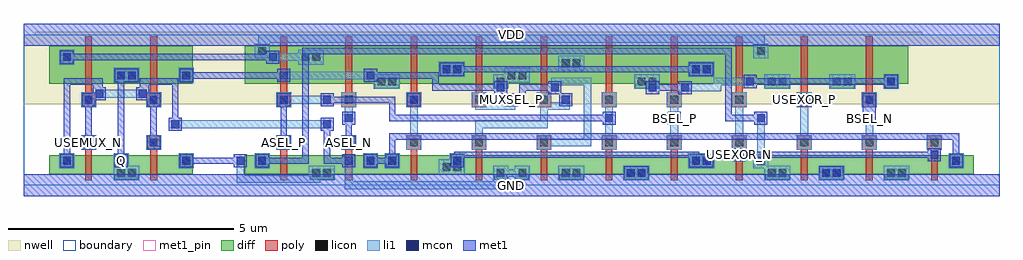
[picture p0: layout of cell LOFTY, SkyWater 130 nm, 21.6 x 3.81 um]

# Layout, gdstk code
import gdstk
lib = gdstk.Library(unit=1e-6, precision=1e-09)
def R(c, l, rs):  # rectangles x0, y0, x1, y1
    for r in rs: c.add(gdstk.rectangle(r[:2], r[2:], *l))
def A(c, l, x, y, w, h, nx, ny, dx, dy):  # array of equal rectangles
    R(c, l, [(x+i*dx, y+j*dy, x+i*dx+w, y+j*dy+h) for i in range(nx) for j in range(ny)])
def P(c, l, *ps):  # polygons
    for p in ps: c.add(gdstk.Polygon(p, *l))
nwell = (64, 20)
diff = (65, 20)
poly = (66, 20)
licon = (66, 44)
li1 = (67, 20)
mcon = (67, 44)
met1_pin = (68, 16)
met1 = (68, 20)
boundary = (235, 4)

lofty = lib.new_cell('LOFTY')
P(lofty, nwell, [(0,1.79),(0,3.33),(0.265,3.33),(0.265,3.4),(19.895,3.4),(19.895,3.33),(21.6,3.33),(21.6,1.79)])
R(lofty, diff, [(0.575,2.25,3.745,3.09)])
P(lofty, diff, [(2.015,0.125),(2.015,0.24),(0.575,0.24),(0.575,0.66),(0.815,0.66),(0.815,0.685),(1.105,0.685),(1.105,0.66),(2.015,0.66),(2.015,0.685),(2.305,0.685),(2.305,0.66),(3.455,0.66),(3.455,0.685),(3.745,0.685),(3.745,0.24),(2.545,0.24),(2.545,0.125)],
  [(6.335,0.125),(6.335,0.24),(4.895,0.24),(4.895,0.66),(5.135,0.66),(5.135,0.685),(5.425,0.685),(5.425,0.66),(7.535,0.66),(7.535,0.685),(7.825,0.685),(7.825,0.66),(8.015,0.66),(8.015,0.685),(8.305,0.685),(8.305,0.66),(9.455,0.66),(9.455,0.685),(9.745,0.685),(9.745,0.66),(14.735,0.66),(14.735,0.685),(15.265,0.685),(15.265,0.66),(16.175,0.66),(16.175,0.685),(16.465,0.685),(16.465,0.66),(20.495,0.66),(20.495,0.685),(20.785,0.685),(20.785,0.66),(21.025,0.66),(21.025,0.24),(19.585,0.24),(19.585,0.125),(19.055,0.125),(19.055,0.24),(18.145,0.24),(18.145,0.125),(17.615,0.125),(17.615,0.24),(16.945,0.24),(16.945,0.125),(16.415,0.125),(16.415,0.24),(13.825,0.24),(13.825,0.125),(13.295,0.125),(13.295,0.24),(12.385,0.24),(12.385,0.125),(11.855,0.125),(11.855,0.24),(11.185,0.24),(11.185,0.125),(10.895,0.125),(10.895,0.24),(10.705,0.24),(10.705,0.125),(10.415,0.125),(10.415,0.24),(6.865,0.24),(6.865,0.125)],
  [(7.775,2.15),(7.775,2.25),(4.895,2.25),(4.895,3.09),(5.135,3.09),(5.135,3.115),(5.425,3.115),(5.425,3.09),(16.175,3.09),(16.175,3.115),(16.465,3.115),(16.465,3.09),(19.585,3.09),(19.585,2.25),(19.345,2.25),(19.345,2.15),(19.055,2.15),(19.055,2.25),(18.385,2.25),(18.385,2.15),(17.855,2.15),(17.855,2.25),(16.945,2.25),(16.945,2.15),(16.415,2.15),(16.415,2.25),(14.065,2.25),(14.065,2.15),(13.535,2.15),(13.535,2.25),(10.705,2.25),(10.705,2.15),(10.415,2.15),(10.415,2.25),(8.305,2.25),(8.305,2.15)])
P(lofty, poly, [(1.365,0.11),(1.365,0.78),(1.275,0.78),(1.275,1.11),(1.605,1.11),(1.605,0.78),(1.515,0.78),(1.515,0.11)],
  [(2.805,0.11),(2.805,0.78),(2.715,0.78),(2.715,1.11),(3.045,1.11),(3.045,0.78),(2.955,0.78),(2.955,0.11)],
  [(5.685,0.11),(5.685,0.78),(5.595,0.78),(5.595,1.11),(5.925,1.11),(5.925,0.78),(5.835,0.78),(5.835,0.11)],
  [(7.125,0.11),(7.125,0.78),(7.035,0.78),(7.035,1.11),(7.365,1.11),(7.365,0.78),(7.275,0.78),(7.275,0.11)],
  [(8.565,0.11),(8.565,0.78),(8.475,0.78),(8.475,1.11),(8.805,1.11),(8.805,0.78),(8.715,0.78),(8.715,0.11)],
  [(10.005,0.11),(10.005,0.78),(9.915,0.78),(9.915,1.11),(10.245,1.11),(10.245,0.78),(10.155,0.78),(10.155,0.11)],
  [(11.445,0.11),(11.445,0.78),(11.355,0.78),(11.355,1.11),(11.685,1.11),(11.685,0.78),(11.595,0.78),(11.595,0.11)],
  [(12.885,0.11),(12.885,0.78),(12.795,0.78),(12.795,1.11),(13.125,1.11),(13.125,0.78),(13.035,0.78),(13.035,0.11)],
  [(14.325,0.11),(14.325,0.78),(14.235,0.78),(14.235,1.11),(14.565,1.11),(14.565,0.78),(14.475,0.78),(14.475,0.11)],
  [(15.765,0.11),(15.765,0.78),(15.675,0.78),(15.675,1.11),(16.005,1.11),(16.005,0.78),(15.915,0.78),(15.915,0.11)],
  [(17.205,0.11),(17.205,0.78),(17.115,0.78),(17.115,1.11),(17.445,1.11),(17.445,0.78),(17.355,0.78),(17.355,0.11)],
  [(18.645,0.11),(18.645,0.78),(18.555,0.78),(18.555,1.11),(18.885,1.11),(18.885,0.78),(18.795,0.78),(18.795,0.11)],
  [(20.085,0.11),(20.085,0.78),(19.995,0.78),(19.995,1.11),(20.325,1.11),(20.325,0.78),(20.235,0.78),(20.235,0.11)],
  [(1.275,1.725),(1.275,2.055),(1.365,2.055),(1.365,3.295),(1.515,3.295),(1.515,2.055),(1.605,2.055),(1.605,1.725)],
  [(2.715,1.725),(2.715,2.055),(2.805,2.055),(2.805,3.295),(2.955,3.295),(2.955,2.055),(3.045,2.055),(3.045,1.725)],
  [(5.595,1.725),(5.595,2.055),(5.685,2.055),(5.685,3.295),(5.835,3.295),(5.835,2.055),(5.925,2.055),(5.925,1.725)],
  [(7.035,1.725),(7.035,2.055),(7.125,2.055),(7.125,3.295),(7.275,3.295),(7.275,2.055),(7.365,2.055),(7.365,1.725)],
  [(8.475,1.725),(8.475,2.055),(8.565,2.055),(8.565,3.295),(8.715,3.295),(8.715,2.055),(8.805,2.055),(8.805,1.725)],
  [(9.915,1.725),(9.915,2.055),(10.005,2.055),(10.005,3.295),(10.155,3.295),(10.155,2.055),(10.245,2.055),(10.245,1.725)],
  [(11.355,1.725),(11.355,2.055),(11.445,2.055),(11.445,3.295),(11.595,3.295),(11.595,2.055),(11.685,2.055),(11.685,1.725)],
  [(12.795,1.725),(12.795,2.055),(12.885,2.055),(12.885,3.295),(13.035,3.295),(13.035,2.055),(13.125,2.055),(13.125,1.725)],
  [(14.235,1.725),(14.235,2.055),(14.325,2.055),(14.325,3.295),(14.475,3.295),(14.475,2.055),(14.565,2.055),(14.565,1.725)],
  [(15.675,1.725),(15.675,2.055),(15.765,2.055),(15.765,3.295),(15.915,3.295),(15.915,2.055),(16.005,2.055),(16.005,1.725)],
  [(17.115,1.725),(17.115,2.055),(17.205,2.055),(17.205,3.295),(17.355,3.295),(17.355,2.055),(17.445,2.055),(17.445,1.725)],
  [(18.555,1.725),(18.555,2.055),(18.645,2.055),(18.645,3.295),(18.795,3.295),(18.795,2.055),(18.885,2.055),(18.885,1.725)])
A(lofty, licon, 5.675, 0.86, 0.17, 0.17, 11, 1, 1.44, 0)
A(lofty, licon, 5.675, 1.805, 0.17, 0.17, 10, 1, 1.44, 0)
R(lofty, licon, [(2.075,0.185,2.245,0.355), (2.315,0.185,2.485,0.355), (6.395,0.185,6.565,0.355), (6.635,0.185,6.805,0.355), (10.475,0.185,10.645,0.355), (10.955,0.185,11.125,0.355), (11.915,0.185,12.085,0.355), (12.155,0.185,12.325,0.355), (13.355,0.185,13.525,0.355), (13.595,0.185,13.765,0.355), (16.475,0.185,16.645,0.355), (16.715,0.185,16.885,0.355), (17.675,0.185,17.845,0.355), (17.915,0.185,18.085,0.355), (19.115,0.185,19.285,0.355), (19.355,0.185,19.525,0.355), (9.275,0.32,9.445,0.49), (9.515,0.32,9.685,0.625), (0.875,0.455,1.045,0.625), (2.075,0.455,2.245,0.625), (3.515,0.455,3.685,0.625), (5.195,0.455,5.365,0.625), (7.595,0.455,7.765,0.625), (8.075,0.455,8.245,0.625), (14.795,0.455,14.965,0.625), (15.035,0.455,15.205,0.625), (16.235,0.455,16.405,0.625), (20.555,0.455,20.725,0.625), (1.355,0.86,1.525,1.03), (2.795,0.86,2.965,1.03), (1.355,1.805,1.525,1.975), (2.795,1.805,2.965,1.975), (7.835,2.21,8.005,2.38), (8.075,2.21,8.245,2.38), (10.475,2.21,10.645,2.38), (13.595,2.21,13.765,2.38), (13.835,2.21,14.005,2.38), (16.475,2.21,16.645,2.38), (16.715,2.21,16.885,2.38), (17.915,2.21,18.085,2.38), (18.155,2.21,18.325,2.38), (19.115,2.21,19.285,2.38), (2.075,2.345,2.245,2.515), (2.315,2.345,2.485,2.515), (3.515,2.345,3.685,2.515), (10.715,2.345,10.885,2.515), (10.955,2.345,11.125,2.515), (9.275,2.48,9.445,2.65), (9.515,2.48,9.685,2.65), (14.795,2.48,14.965,2.65), (15.035,2.48,15.205,2.65), (11.915,2.615,12.085,2.785), (12.155,2.615,12.325,2.785), (0.875,2.75,1.045,2.92), (6.155,2.75,6.325,2.92), (6.395,2.75,6.565,2.92), (5.195,2.885,5.365,3.055), (16.235,2.885,16.405,3.055)])
R(lofty, li1, [(11.835,0.105,12.405,0.435), (13.275,0.105,13.845,0.435), (17.595,0.105,18.165,0.435), (19.035,0.105,19.605,0.435), (0.795,0.375,1.125,0.705), (3.435,0.375,3.765,0.705), (5.115,0.375,5.445,0.705), (7.515,0.375,7.845,0.705), (7.995,0.375,8.325,0.705), (14.715,0.375,15.285,0.705), (20.475,0.375,20.805,0.705), (1.275,0.78,1.605,1.11), (2.715,0.78,3.045,1.11), (5.595,0.78,5.925,1.11), (7.035,0.78,7.365,1.11), (3.275,1.265,6.805,1.435), (18.555,1.725,18.885,2.055), (16.395,2.13,16.965,2.46), (17.835,2.13,18.405,2.46), (19.035,2.13,19.365,2.46), (1.995,2.265,2.565,2.595), (3.435,2.265,3.765,2.595), (9.195,2.4,9.765,2.73), (14.715,2.4,15.285,2.73), (11.835,2.535,12.405,2.865), (0.795,2.67,1.125,3)])
P(lofty, li1, [(4.715,0.05),(4.715,0.625),(4.885,0.625),(4.885,0.22),(6.315,0.22),(6.315,0.435),(6.885,0.435),(6.885,0.105),(6.565,0.105),(6.565,0.05)],
  [(7.115,-0.085),(7.115,0.625),(7.285,0.625),(7.285,0.085),(10.395,0.085),(10.395,0.435),(10.725,0.435),(10.725,0.355),(10.875,0.355),(10.875,0.435),(11.205,0.435),(11.205,0.105),(10.875,0.105),(10.875,0.185),(10.725,0.185),(10.725,0.105),(10.645,0.105),(10.645,-0.085)],
  [(1.995,0.105),(1.995,0.705),(2.325,0.705),(2.325,0.435),(2.565,0.435),(2.565,0.105)],
  [(9.195,0.24),(9.195,0.57),(9.435,0.57),(9.435,0.705),(9.765,0.705),(9.765,0.24)],
  [(20.075,0.59),(20.075,0.78),(19.995,0.78),(19.995,1.11),(20.325,1.11),(20.325,0.78),(20.245,0.78),(20.245,0.59)],
  [(16.395,0.105),(16.395,0.375),(16.155,0.375),(16.155,0.705),(16.235,0.705),(16.235,1.57),(16.405,1.57),(16.405,0.705),(16.485,0.705),(16.485,0.435),(16.965,0.435),(16.965,0.105)],
  [(18.555,0.78),(18.555,1.11),(18.635,1.11),(18.635,1.57),(18.805,1.57),(18.805,1.11),(18.885,1.11),(18.885,0.78)],
  [(5.595,1.725),(5.595,2.055),(5.925,2.055),(5.925,1.975),(6.805,1.975),(6.805,1.805),(5.925,1.805),(5.925,1.725)],
  [(7.115,1.4),(7.115,1.725),(7.035,1.725),(7.035,2.055),(7.365,2.055),(7.365,1.725),(7.285,1.725),(7.285,1.4)],
  [(8.475,0.78),(8.475,1.11),(8.555,1.11),(8.555,1.725),(8.475,1.725),(8.475,2.055),(8.805,2.055),(8.805,1.725),(8.725,1.725),(8.725,1.11),(8.805,1.11),(8.805,0.78)],
  [(9.995,1.67),(9.995,1.725),(9.915,1.725),(9.915,2.055),(10.245,2.055),(10.245,1.84),(10.715,1.84),(10.715,1.975),(10.885,1.975),(10.885,1.67)],
  [(9.915,0.78),(9.915,1.11),(9.995,1.11),(9.995,1.435),(11.435,1.435),(11.435,1.725),(11.355,1.725),(11.355,2.055),(11.685,2.055),(11.685,1.84),(11.915,1.84),(11.915,1.975),(12.085,1.975),(12.085,1.67),(11.605,1.67),(11.605,1.265),(10.165,1.265),(10.165,1.11),(10.245,1.11),(10.245,0.78)],
  [(12.795,0.78),(12.795,1.11),(12.875,1.11),(12.875,1.725),(12.795,1.725),(12.795,2.055),(13.125,2.055),(13.125,1.725),(13.045,1.725),(13.045,1.11),(13.125,1.11),(13.125,0.78)],
  [(14.235,0.78),(14.235,1.11),(14.315,1.11),(14.315,1.725),(14.235,1.725),(14.235,2.055),(14.565,2.055),(14.565,1.725),(14.485,1.725),(14.485,1.11),(14.565,1.11),(14.565,0.78)],
  [(15.755,0.59),(15.755,0.78),(15.675,0.78),(15.675,1.11),(15.755,1.11),(15.755,1.725),(15.675,1.725),(15.675,2.055),(16.005,2.055),(16.005,1.725),(15.925,1.725),(15.925,1.11),(16.005,1.11),(16.005,0.78),(15.925,0.78),(15.925,0.59)],
  [(17.115,0.78),(17.115,1.11),(17.195,1.11),(17.195,1.725),(17.115,1.725),(17.115,2.055),(17.445,2.055),(17.445,1.725),(17.365,1.725),(17.365,1.11),(17.445,1.11),(17.445,0.78)],
  [(1.275,1.725),(1.275,2.055),(1.595,2.055),(1.595,2.11),(2.725,2.11),(2.725,2.055),(3.045,2.055),(3.045,1.725),(2.715,1.725),(2.715,1.94),(1.605,1.94),(1.605,1.725)],
  [(11.355,0.78),(11.355,1.11),(11.685,1.11),(11.685,1.03),(12.395,1.03),(12.395,2.21),(11.845,2.21),(11.845,2.075),(11.675,2.075),(11.675,2.38),(12.565,2.38),(12.565,0.86),(11.685,0.86),(11.685,0.78)],
  [(14.555,2.075),(14.555,2.245),(15.275,2.245),(15.275,2.38),(16.165,2.38),(16.165,2.21),(15.445,2.21),(15.445,2.075)],
  [(13.835,2.075),(13.835,2.13),(13.515,2.13),(13.515,2.46),(14.085,2.46),(14.085,2.13),(14.005,2.13),(14.005,2.075)],
  [(7.755,2.13),(7.755,2.345),(5.675,2.345),(5.675,2.515),(7.765,2.515),(7.765,2.46),(8.325,2.46),(8.325,2.13)],
  [(10.475,2.075),(10.475,2.13),(10.395,2.13),(10.395,2.46),(10.635,2.46),(10.635,2.595),(11.205,2.595),(11.205,2.265),(10.725,2.265),(10.725,2.13),(10.645,2.13),(10.645,2.075)],
  [(6.075,2.67),(6.075,2.75),(5.435,2.75),(5.435,2.805),(5.115,2.805),(5.115,3.135),(5.195,3.135),(5.195,3.325),(16.405,3.325),(16.405,3.135),(16.485,3.135),(16.485,2.805),(16.155,2.805),(16.155,3.155),(5.445,3.155),(5.445,2.92),(6.075,2.92),(6.075,3),(6.645,3),(6.645,2.67)])
A(lofty, mcon, 7.115, 0.455, 0.17, 0.17, 3, 1, 0.48, 0)
R(lofty, mcon, [(13.355,0.185,13.525,0.355), (13.595,0.185,13.765,0.355), (17.675,0.185,17.845,0.355), (17.915,0.185,18.085,0.355), (0.875,0.455,1.045,0.625), (2.075,0.455,2.245,0.625), (3.515,0.455,3.685,0.625), (4.715,0.455,4.885,0.625), (5.195,0.455,5.365,0.625), (9.515,0.455,9.685,0.625), (14.795,0.455,14.965,0.625), (15.035,0.455,15.205,0.625), (20.555,0.455,20.725,0.625), (15.755,0.59,15.925,0.76), (20.075,0.59,20.245,0.76), (1.355,0.86,1.525,1.03), (2.795,0.86,2.965,1.03), (5.675,0.86,5.845,1.03), (7.115,0.86,7.285,1.03), (3.275,1.265,3.445,1.435), (6.635,1.265,6.805,1.435), (7.115,1.4,7.285,1.57), (12.875,1.4,13.045,1.57), (14.315,1.4,14.485,1.57), (16.235,1.4,16.405,1.57), (18.635,1.4,18.805,1.57), (1.355,1.805,1.525,1.975), (2.795,1.805,2.965,1.975), (5.675,1.805,5.845,1.975), (6.635,1.805,6.805,1.975), (8.555,1.805,8.725,1.975), (10.715,1.805,10.885,1.975), (11.915,1.805,12.085,1.975), (17.195,1.805,17.365,1.975), (18.635,1.805,18.805,1.975), (1.595,1.94,1.765,2.11), (2.555,1.94,2.725,2.11), (10.475,2.075,10.645,2.245), (11.675,2.075,11.845,2.245), (13.835,2.075,14.005,2.245), (14.555,2.075,14.725,2.245), (15.995,2.21,16.165,2.38), (19.115,2.21,19.285,2.38), (2.075,2.345,2.245,2.515), (2.315,2.345,2.485,2.515), (3.515,2.345,3.685,2.515), (5.675,2.345,5.845,2.515), (7.595,2.345,7.765,2.515), (9.275,2.48,9.445,2.65), (9.515,2.48,9.685,2.65), (14.795,2.48,14.965,2.65), (15.035,2.48,15.205,2.65), (0.875,2.75,1.045,2.92), (5.435,2.75,5.605,2.92)])
R(lofty, met1_pin, [(0,-0.24,21.6,0.24), (14.255,1.34,14.545,1.63), (18.575,1.34,18.865,2.035), (17.135,1.745,17.425,2.035), (0,3.09,21.6,3.57)])
P(lofty, met1_pin, [(2.015,0.395),(2.015,0.685),(2.09,0.685),(2.09,2.285),(2.015,2.285),(2.015,2.575),(2.545,2.575),(2.545,2.285),(2.23,2.285),(2.23,0.685),(2.305,0.685),(2.305,0.395)],
  [(5.615,0.8),(5.615,1.09),(5.69,1.09),(5.69,1.745),(5.615,1.745),(5.615,2.035),(5.905,2.035),(5.905,1.745),(5.83,1.745),(5.83,1.09),(5.905,1.09),(5.905,0.8)],
  [(15.695,0.53),(15.695,0.82),(15.985,0.82),(15.985,0.745),(20.015,0.745),(20.015,0.82),(20.305,0.82),(20.305,0.53),(20.015,0.53),(20.015,0.605),(15.985,0.605),(15.985,0.53)],
  [(0.815,0.395),(0.815,0.685),(0.89,0.685),(0.89,2.365),(1.75,2.365),(1.75,2.17),(1.825,2.17),(1.825,1.88),(1.585,1.88),(1.585,1.745),(1.51,1.745),(1.51,1.09),(1.585,1.09),(1.585,0.8),(1.295,0.8),(1.295,1.09),(1.37,1.09),(1.37,1.745),(1.295,1.745),(1.295,2.035),(1.535,2.035),(1.535,2.225),(1.03,2.225),(1.03,0.685),(1.105,0.685),(1.105,0.395)],
  [(7.055,0.8),(7.055,1.09),(7.13,1.09),(7.13,1.34),(7.055,1.34),(7.055,1.63),(7.345,1.63),(7.345,1.34),(7.27,1.34),(7.27,1.09),(7.345,1.09),(7.345,0.8)],
  [(10.655,1.745),(10.655,2.015),(10.415,2.015),(10.415,2.09),(9.05,2.09),(9.05,2.36),(7.825,2.36),(7.825,2.285),(7.535,2.285),(7.535,2.575),(7.825,2.575),(7.825,2.5),(9.19,2.5),(9.19,2.23),(10.415,2.23),(10.415,2.305),(10.705,2.305),(10.705,2.035),(10.97,2.035),(10.97,2.23),(11.615,2.23),(11.615,2.305),(11.905,2.305),(11.905,2.035),(12.145,2.035),(12.145,1.745),(11.855,1.745),(11.855,2.015),(11.615,2.015),(11.615,2.09),(11.11,2.09),(11.11,1.82),(10.945,1.82),(10.945,1.745)],
  [(2.735,0.8),(2.735,1.09),(2.81,1.09),(2.81,1.745),(2.735,1.745),(2.735,1.88),(2.495,1.88),(2.495,2.17),(2.57,2.17),(2.57,2.365),(3.43,2.365),(3.43,1.495),(3.505,1.495),(3.505,1.205),(3.215,1.205),(3.215,1.495),(3.29,1.495),(3.29,2.225),(2.785,2.225),(2.785,2.035),(3.025,2.035),(3.025,1.745),(2.95,1.745),(2.95,1.09),(3.025,1.09),(3.025,0.8)],
  [(10.655,1.745),(10.655,2.015),(10.415,2.015),(10.415,2.09),(9.05,2.09),(9.05,2.36),(7.825,2.36),(7.825,2.285),(7.535,2.285),(7.535,2.575),(7.825,2.575),(7.825,2.5),(9.19,2.5),(9.19,2.23),(10.415,2.23),(10.415,2.305),(10.705,2.305),(10.705,2.035),(10.97,2.035),(10.97,2.23),(11.615,2.23),(11.615,2.305),(11.905,2.305),(11.905,2.035),(12.145,2.035),(12.145,1.745),(11.855,1.745),(11.855,2.015),(11.615,2.015),(11.615,2.09),(11.11,2.09),(11.11,1.82),(10.945,1.82),(10.945,1.745)])
R(lofty, met1, [(14.255,1.34,14.545,1.63), (18.575,1.34,18.865,2.035), (8.495,1.745,8.785,2.035), (17.135,1.745,17.425,2.035), (0,3.09,21.6,3.57)])
P(lofty, met1, [(0,-0.24),(0,0.24),(13.295,0.24),(13.295,0.415),(13.825,0.415),(13.825,0.24),(17.615,0.24),(17.615,0.415),(18.145,0.415),(18.145,0.24),(21.6,0.24),(21.6,-0.24)],
  [(3.455,0.395),(3.455,0.685),(3.745,0.685),(3.745,0.61),(4.655,0.61),(4.655,0.685),(4.945,0.685),(4.945,0.395),(4.655,0.395),(4.655,0.47),(3.745,0.47),(3.745,0.395)],
  [(9.455,0.395),(9.455,0.685),(9.53,0.685),(9.53,0.745),(14.95,0.745),(14.95,0.685),(15.265,0.685),(15.265,0.395),(14.735,0.395),(14.735,0.605),(9.745,0.605),(9.745,0.395)],
  [(15.695,0.53),(15.695,0.82),(15.985,0.82),(15.985,0.745),(20.015,0.745),(20.015,0.82),(20.305,0.82),(20.305,0.53),(20.015,0.53),(20.015,0.605),(15.985,0.605),(15.985,0.53)],
  [(7.535,0.395),(7.535,0.685),(7.825,0.685),(7.825,0.61),(8.015,0.61),(8.015,0.685),(8.09,0.685),(8.09,1.15),(20.71,1.15),(20.71,0.685),(20.785,0.685),(20.785,0.395),(20.495,0.395),(20.495,0.685),(20.57,0.685),(20.57,1.01),(8.23,1.01),(8.23,0.685),(8.305,0.685),(8.305,0.395),(8.015,0.395),(8.015,0.47),(7.825,0.47),(7.825,0.395)],
  [(7.055,0.395),(7.055,0.47),(6.65,0.47),(6.65,1.205),(6.575,1.205),(6.575,1.495),(6.865,1.495),(6.865,1.205),(6.79,1.205),(6.79,0.61),(7.055,0.61),(7.055,0.685),(7.345,0.685),(7.345,0.395)],
  [(7.055,0.8),(7.055,1.09),(7.13,1.09),(7.13,1.34),(7.055,1.34),(7.055,1.63),(7.345,1.63),(7.345,1.34),(7.27,1.34),(7.27,1.09),(7.345,1.09),(7.345,0.8)],
  [(5.615,0.8),(5.615,1.09),(5.69,1.09),(5.69,1.745),(5.615,1.745),(5.615,2.035),(5.905,2.035),(5.905,1.745),(5.83,1.745),(5.83,1.09),(5.905,1.09),(5.905,0.8)],
  [(12.815,1.34),(12.815,1.415),(8.09,1.415),(8.09,1.82),(6.865,1.82),(6.865,1.745),(6.575,1.745),(6.575,2.035),(6.865,2.035),(6.865,1.96),(8.23,1.96),(8.23,1.555),(12.815,1.555),(12.815,1.63),(13.105,1.63),(13.105,1.34)],
  [(13.775,2.015),(13.775,2.305),(14.065,2.305),(14.065,2.23),(14.495,2.23),(14.495,2.305),(14.785,2.305),(14.785,2.015),(14.495,2.015),(14.495,2.09),(14.065,2.09),(14.065,2.015)],
  [(0.815,0.395),(0.815,0.685),(0.89,0.685),(0.89,2.365),(1.75,2.365),(1.75,2.17),(1.825,2.17),(1.825,1.88),(1.585,1.88),(1.585,1.745),(1.51,1.745),(1.51,1.09),(1.585,1.09),(1.585,0.8),(1.295,0.8),(1.295,1.09),(1.37,1.09),(1.37,1.745),(1.295,1.745),(1.295,2.035),(1.535,2.035),(1.535,2.225),(1.03,2.225),(1.03,0.685),(1.105,0.685),(1.105,0.395)],
  [(2.735,0.8),(2.735,1.09),(2.81,1.09),(2.81,1.745),(2.735,1.745),(2.735,1.88),(2.495,1.88),(2.495,2.17),(2.57,2.17),(2.57,2.365),(3.43,2.365),(3.43,1.495),(3.505,1.495),(3.505,1.205),(3.215,1.205),(3.215,1.495),(3.29,1.495),(3.29,2.225),(2.785,2.225),(2.785,2.035),(3.025,2.035),(3.025,1.745),(2.95,1.745),(2.95,1.09),(3.025,1.09),(3.025,0.8)],
  [(15.935,2.15),(15.935,2.44),(16.225,2.44),(16.225,2.365),(19.055,2.365),(19.055,2.44),(19.345,2.44),(19.345,2.15),(19.055,2.15),(19.055,2.225),(16.225,2.225),(16.225,2.15)],
  [(2.015,0.395),(2.015,0.685),(2.09,0.685),(2.09,2.285),(2.015,2.285),(2.015,2.575),(2.545,2.575),(2.545,2.285),(2.23,2.285),(2.23,0.685),(2.305,0.685),(2.305,0.395)],
  [(3.455,2.285),(3.455,2.575),(3.745,2.575),(3.745,2.5),(5.615,2.5),(5.615,2.575),(5.905,2.575),(5.905,2.285),(5.615,2.285),(5.615,2.36),(3.745,2.36),(3.745,2.285)],
  [(10.655,1.745),(10.655,2.015),(10.415,2.015),(10.415,2.09),(9.05,2.09),(9.05,2.36),(7.825,2.36),(7.825,2.285),(7.535,2.285),(7.535,2.575),(7.825,2.575),(7.825,2.5),(9.19,2.5),(9.19,2.23),(10.415,2.23),(10.415,2.305),(10.705,2.305),(10.705,2.035),(10.97,2.035),(10.97,2.23),(11.615,2.23),(11.615,2.305),(11.905,2.305),(11.905,2.035),(12.145,2.035),(12.145,1.745),(11.855,1.745),(11.855,2.015),(11.615,2.015),(11.615,2.09),(11.11,2.09),(11.11,1.82),(10.945,1.82),(10.945,1.745)],
  [(9.215,2.42),(9.215,2.71),(9.745,2.71),(9.745,2.635),(14.735,2.635),(14.735,2.71),(15.265,2.71),(15.265,2.42),(14.735,2.42),(14.735,2.495),(9.745,2.495),(9.745,2.42)],
  [(0.815,2.69),(0.815,2.98),(1.105,2.98),(1.105,2.905),(5.375,2.905),(5.375,2.98),(5.665,2.98),(5.665,2.69),(5.375,2.69),(5.375,2.765),(1.105,2.765),(1.105,2.69)],
  [(5.135,0.395),(5.135,0.685),(5.425,0.685),(5.425,0.61),(6.17,0.61),(6.17,3.04),(15.67,3.04),(15.67,1.555),(16.175,1.555),(16.175,1.63),(16.465,1.63),(16.465,1.34),(16.175,1.34),(16.175,1.415),(15.53,1.415),(15.53,2.9),(6.31,2.9),(6.31,0.47),(5.425,0.47),(5.425,0.395)])
R(lofty, boundary, [(0,0,21.6,3.33)])
lofty.add(gdstk.Label('Q', (2.16,0.54), layer=68, texttype=5))
lofty.add(gdstk.Label('ASEL_P', (5.76,0.945), layer=68, texttype=5))
lofty.add(gdstk.Label('USEXOR_N', (15.84,0.675), layer=68, texttype=5))
lofty.add(gdstk.Label('USEMUX_N', (1.44,0.945), layer=68, texttype=5))
lofty.add(gdstk.Label('USEXOR_P', (17.28,1.89), layer=68, texttype=5))
lofty.add(gdstk.Label('ASEL_N', (7.2,0.945), layer=68, texttype=5))
lofty.add(gdstk.Label('BSEL_N', (18.72,1.485), layer=68, texttype=5))
lofty.add(gdstk.Label('BSEL_P', (14.4,1.485), layer=68, texttype=5))
lofty.add(gdstk.Label('MUXSEL_P', (10.8,1.89), layer=68, texttype=5))
lofty.add(gdstk.Label('USEMUX_P', (2.88,0.945), layer=68, texttype=5))
lofty.add(gdstk.Label('MUXSEL_N', (12,1.89), layer=68, texttype=5))
lofty.add(gdstk.Label('GND', (10.8,0), layer=68, texttype=5))
lofty.add(gdstk.Label('VDD', (10.8,3.33), layer=68, texttype=5))

lib.write_gds('LOFTY.gds')
